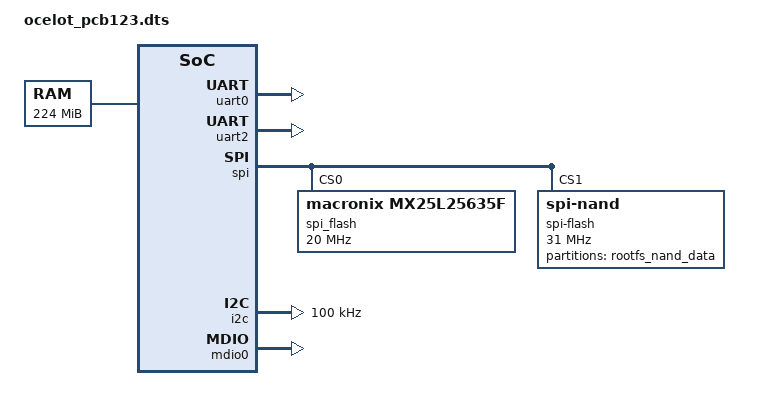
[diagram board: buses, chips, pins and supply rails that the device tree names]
// SPDX-License-Identifier: (GPL-2.0 OR MIT)
/* Copyright (c) 2017 Microsemi Corporation */

/dts-v1/;

#include "ocelot.dtsi"

/ {
	compatible = "mscc,ocelot-pcb123", "mscc,ocelot";

	chosen {
		stdout-path = "serial0:115200n8";
	};

	memory@0 {
		device_type = "memory";
		reg = <0x0 0x0e000000>;
	};
};

&uart0 {
	status = "okay";
};

&uart2 {
	status = "okay";
};

&spi {
	status = "okay";

	spi-flash@0 {
		label = "spi_flash";
		compatible = "macronix,mx25l25635f", "jedec,spi-nor";
		spi-max-frequency = <20000000>;
		reg = <0>;
	};
	spi-flash@1 {
		compatible = "spi-nand";
		pinctrl-0 = <&cs1_pins>;
		pinctrl-names = "default";
		spi-max-frequency = <31000000>;
		reg = <1>; /* CS1 */
		nand-use-soft-ecc-engine;
		nand-ecc-algo = "hamming";
		partitions {
			compatible = "fixed-partitions";
			#address-cells = <1>;
			#size-cells = <1>;
			/* 256MiB */
			partition@0 {
				    label = "rootfs_nand_data";
				    reg = <0x0000000 0x10000000>;
			};
		};
	};
};

&i2c {
	clock-frequency = <100000>;
	i2c-sda-hold-time-ns = <300>;
	status = "okay";
};

&mdio0 {
	status = "okay";
};

&port0 {
	phy-handle = <&phy0>;
};

&port1 {
	phy-handle = <&phy1>;
};

&port2 {
	phy-handle = <&phy2>;
};

&port3 {
	phy-handle = <&phy3>;
};
